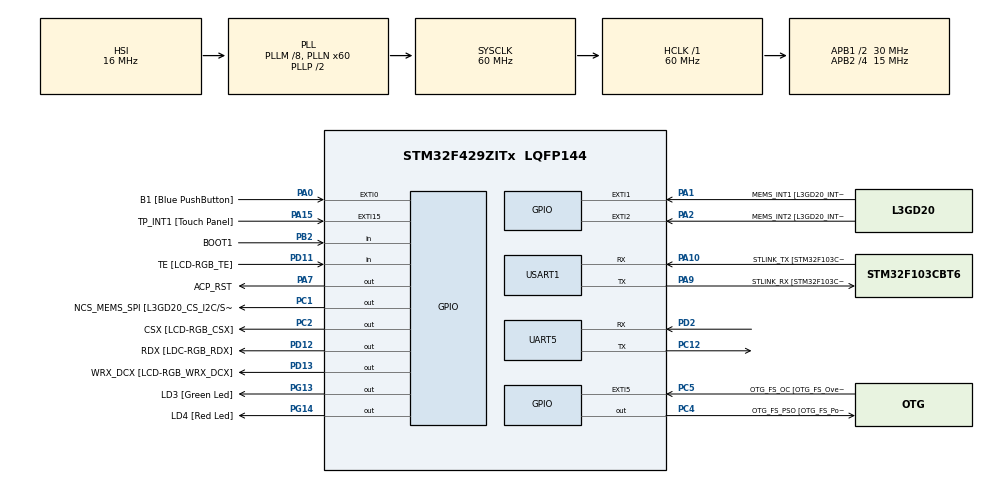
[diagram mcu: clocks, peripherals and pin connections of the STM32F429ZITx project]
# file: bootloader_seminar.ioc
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Mcu.Family=STM32F4
Mcu.Name=STM32F429ZITx
Mcu.Package=LQFP144
NVIC.PriorityGroup=NVIC_PRIORITYGROUP_0
PA0/WKUP.GPIO_Label=B1 [Blue PushButton]
PA0/WKUP.GPIO_ModeDefaultEXTI=GPIO_MODE_EVT_RISING
PA0/WKUP.GPIO_PuPd=GPIO_NOPULL
PA0/WKUP.Signal=GPXTI0
PA1.GPIO_Label=MEMS_INT1 [L3GD20_INT1]
PA1.GPIO_ModeDefaultEXTI=GPIO_MODE_EVT_RISING
PA1.GPIO_PuPd=GPIO_NOPULL
PA1.Signal=GPXTI1
PA10.GPIO_Label=STLINK_TX [STM32F103CBT6_PA2]
PA10.Mode=Asynchronous
PA10.Signal=USART1_RX
PA11.GPIO_Label=R4
PA11.GPIO_Mode=GPIO_MODE_AF_PP
PA11.GPIO_PuPd=GPIO_NOPULL
PA11.GPIO_Speed=GPIO_SPEED_FREQ_LOW
PA11.Signal=LTDC_R4
PA12.GPIO_Label=R5
PA12.GPIO_Mode=GPIO_MODE_AF_PP
PA12.GPIO_PuPd=GPIO_NOPULL
PA12.GPIO_Speed=GPIO_SPEED_FREQ_LOW
PA12.Signal=LTDC_R5
PA13.GPIO_Label=SWDIO
PA13.Signal=SYS_JTMS-SWDIO
PA14.GPIO_Label=SWCLK
PA14.Signal=SYS_JTCK-SWCLK
PA15.GPIO_Label=TP_INT1 [Touch Panel]
PA15.GPIO_ModeDefaultEXTI=GPIO_MODE_EVT_RISING
PA15.GPIO_PuPd=GPIO_NOPULL
PA15.Signal=GPXTI15
PA2.GPIO_Label=MEMS_INT2 [L3GD20_INT2]
PA2.GPIO_ModeDefaultEXTI=GPIO_MODE_EVT_RISING
PA2.GPIO_PuPd=GPIO_NOPULL
PA2.Signal=GPXTI2
PA3.GPIO_Label=B5
PA3.GPIO_Mode=GPIO_MODE_AF_PP
PA3.GPIO_PuPd=GPIO_NOPULL
PA3.GPIO_Speed=GPIO_SPEED_FREQ_LOW
PA3.Signal=LTDC_B5
PA4.GPIO_Label=VSYNC
PA4.GPIO_Mode=GPIO_MODE_AF_PP
PA4.GPIO_PuPd=GPIO_NOPULL
PA4.GPIO_Speed=GPIO_SPEED_FREQ_LOW
PA4.Signal=LTDC_VSYNC
PA6.GPIO_Label=G2
PA6.GPIO_Mode=GPIO_MODE_AF_PP
PA6.GPIO_PuPd=GPIO_NOPULL
PA6.GPIO_Speed=GPIO_SPEED_FREQ_LOW
PA6.Signal=LTDC_G2
PA7.GPIO_Label=ACP_RST
PA7.GPIO_Mode=GPIO_MODE_OUTPUT_PP
PA7.GPIO_PuPd=GPIO_NOPULL
PA7.GPIO_Speed=GPIO_SPEED_FREQ_LOW
PA7.Signal=GPIO_Output
PA8.GPIO_Label=I2C3_SCL [ACP/RF_SCL]
PA8.GPIO_Mode=GPIO_MODE_AF_OD
PA8.GPIO_PuPd=GPIO_NOPULL
PA8.GPIO_Speed=GPIO_SPEED_FREQ_LOW
PA8.Signal=I2C3_SCL
PA9.GPIO_Label=STLINK_RX [STM32F103CBT6_PA3]
PA9.Mode=Asynchronous
PA9.Signal=USART1_TX
PB0.GPIO_Label=R3
PB0.GPIO_Mode=GPIO_MODE_AF_PP
PB0.GPIO_PuPd=GPIO_NOPULL
PB0.GPIO_Speed=GPIO_SPEED_FREQ_LOW
PB0.Signal=LTDC_R3
PB1.GPIO_Label=R6
PB1.GPIO_Mode=GPIO_MODE_AF_PP
PB1.GPIO_PuPd=GPIO_NOPULL
PB1.GPIO_Speed=GPIO_SPEED_FREQ_LOW
PB1.Signal=LTDC_R6
PB10.GPIO_Label=G4
PB10.GPIO_Mode=GPIO_MODE_AF_PP
PB10.GPIO_PuPd=GPIO_NOPULL
PB10.GPIO_Speed=GPIO_SPEED_FREQ_LOW
PB10.Signal=LTDC_G4
PB11.GPIO_Label=G5
PB11.GPIO_Mode=GPIO_MODE_AF_PP
PB11.GPIO_PuPd=GPIO_NOPULL
PB11.GPIO_Speed=GPIO_SPEED_FREQ_LOW
PB11.Signal=LTDC_G5
PB12.GPIO_Label=OTG_HS_ID
PB12.GPIO_Mode=GPIO_MODE_AF_PP
PB12.GPIO_PuPd=GPIO_NOPULL
PB12.GPIO_Speed=GPIO_SPEED_FREQ_LOW
PB12.Signal=USB_OTG_HS_ID
PB13.GPIO_Label=VBUS_HS
PB13.GPIO_Mode=GPIO_MODE_INPUT
PB13.GPIO_PuPd=GPIO_NOPULL
PB13.Signal=USB_OTG_HS_VBUS
PB14.GPIO_Label=OTG_HS_DM
PB14.GPIO_Mode=GPIO_MODE_AF_PP
PB14.GPIO_PuPd=GPIO_NOPULL
PB14.GPIO_Speed=GPIO_SPEED_FREQ_LOW
PB14.Signal=USB_OTG_HS_DM
PB15.GPIO_Label=OTG_HS_DP
PB15.GPIO_Mode=GPIO_MODE_AF_PP
PB15.GPIO_PuPd=GPIO_NOPULL
PB15.GPIO_Speed=GPIO_SPEED_FREQ_LOW
PB15.Signal=USB_OTG_HS_DP
PB2/BOOT1.GPIO_Label=BOOT1
PB2/BOOT1.GPIO_Mode=GPIO_MODE_INPUT
PB2/BOOT1.GPIO_PuPd=GPIO_NOPULL
PB2/BOOT1.Signal=GPIO_Input
PB5.GPIO_Label=SDCKE1
PB5.GPIO_Mode=GPIO_MODE_AF_PP
PB5.GPIO_PuPd=GPIO_NOPULL
PB5.GPIO_Speed=GPIO_SPEED_FREQ_VERY_HIGH
PB5.Signal=FMC_SDCKE1
PB6.GPIO_Label=SDNE1 [SDRAM_CS]
PB6.GPIO_Mode=GPIO_MODE_AF_PP
PB6.GPIO_PuPd=GPIO_NOPULL
PB6.GPIO_Speed=GPIO_SPEED_FREQ_VERY_HIGH
PB6.Signal=FMC_SDNE1
PB8.GPIO_Label=B6
PB8.GPIO_Mode=GPIO_MODE_AF_PP
PB8.GPIO_PuPd=GPIO_NOPULL
PB8.GPIO_Speed=GPIO_SPEED_FREQ_LOW
PB8.Signal=LTDC_B6
PB9.GPIO_Label=B7
PB9.GPIO_Mode=GPIO_MODE_AF_PP
PB9.GPIO_PuPd=GPIO_NOPULL
PB9.GPIO_Speed=GPIO_SPEED_FREQ_LOW
PB9.Signal=LTDC_B7
PC0.GPIO_Label=SDNWE
PC0.GPIO_Mode=GPIO_MODE_AF_PP
PC0.GPIO_PuPd=GPIO_NOPULL
PC0.GPIO_Speed=GPIO_SPEED_FREQ_VERY_HIGH
PC0.Signal=FMC_SDNWE
PC1.GPIO_Label=NCS_MEMS_SPI [L3GD20_CS_I2C/SPI]
PC1.GPIO_Mode=GPIO_MODE_OUTPUT_PP
PC1.GPIO_PuPd=GPIO_NOPULL
PC1.GPIO_Speed=GPIO_SPEED_FREQ_LOW
PC1.Signal=GPIO_Output
PC10.GPIO_Label=R2
PC10.GPIO_Mode=GPIO_MODE_AF_PP
PC10.GPIO_PuPd=GPIO_NOPULL
PC10.GPIO_Speed=GPIO_SPEED_FREQ_LOW
PC10.Signal=LTDC_R2
PC12.Mode=Asynchronous
PC12.Signal=UART5_TX
PC14/OSC32_IN.GPIO_Label=PC14-OSC32_IN
PC14/OSC32_IN.Signal=RCC_OSC32_IN
PC15/OSC32_OUT.GPIO_Label=PC15-OSC32_OUT
PC15/OSC32_OUT.Signal=RCC_OSC32_OUT
PC2.GPIO_Label=CSX [LCD-RGB_CSX]
PC2.GPIO_Mode=GPIO_MODE_OUTPUT_PP
PC2.GPIO_PuPd=GPIO_NOPULL
PC2.GPIO_Speed=GPIO_SPEED_FREQ_LOW
PC2.Signal=GPIO_Output
PC4.GPIO_Label=OTG_FS_PSO [OTG_FS_PowerSwitchOn]
PC4.GPIO_Mode=GPIO_MODE_OUTPUT_PP
PC4.GPIO_PuPd=GPIO_NOPULL
PC4.GPIO_Speed=GPIO_SPEED_FREQ_LOW
PC4.Signal=GPIO_Output
PC5.GPIO_Label=OTG_FS_OC [OTG_FS_OverCurrent]
PC5.GPIO_ModeDefaultEXTI=GPIO_MODE_EVT_RISING
PC5.Signal=GPXTI5
PC6.GPIO_Label=HSYNC
PC6.GPIO_Mode=GPIO_MODE_AF_PP
PC6.GPIO_PuPd=GPIO_NOPULL
PC6.GPIO_Speed=GPIO_SPEED_FREQ_LOW
PC6.Signal=LTDC_HSYNC
PC7.GPIO_Label=G6
PC7.GPIO_Mode=GPIO_MODE_AF_PP
PC7.GPIO_PuPd=GPIO_NOPULL
PC7.GPIO_Speed=GPIO_SPEED_FREQ_LOW
PC7.Signal=LTDC_G6
PC9.GPIO_Label=I2C3_SDA [ACP/RF_SDA]
PC9.GPIO_Mode=GPIO_MODE_AF_OD
PC9.GPIO_PuPd=GPIO_NOPULL
PC9.GPIO_Speed=GPIO_SPEED_FREQ_LOW
PC9.Signal=I2C3_SDA
PD0.GPIO_Label=D2
PD0.GPIO_Mode=GPIO_MODE_AF_PP
PD0.GPIO_PuPd=GPIO_NOPULL
PD0.GPIO_Speed=GPIO_SPEED_FREQ_VERY_HIGH
PD0.Signal=FMC_D2_DA2
PD1.GPIO_Label=D3
PD1.GPIO_Mode=GPIO_MODE_AF_PP
PD1.GPIO_PuPd=GPIO_NOPULL
PD1.GPIO_Speed=GPIO_SPEED_FREQ_VERY_HIGH
PD1.Signal=FMC_D3_DA3
PD10.GPIO_Label=D15
PD10.GPIO_Mode=GPIO_MODE_AF_PP
PD10.GPIO_PuPd=GPIO_NOPULL
PD10.GPIO_Speed=GPIO_SPEED_FREQ_VERY_HIGH
PD10.Signal=FMC_D15_DA15
PD11.GPIO_Label=TE [LCD-RGB_TE]
PD11.GPIO_Mode=GPIO_MODE_INPUT
PD11.GPIO_PuPd=GPIO_NOPULL
PD11.Signal=GPIO_Input
PD12.GPIO_Label=RDX [LDC-RGB_RDX]
PD12.GPIO_Mode=GPIO_MODE_OUTPUT_PP
PD12.GPIO_PuPd=GPIO_NOPULL
PD12.GPIO_Speed=GPIO_SPEED_FREQ_LOW
PD12.Signal=GPIO_Output
PD13.GPIO_Label=WRX_DCX [LCD-RGB_WRX_DCX]
PD13.GPIO_Mode=GPIO_MODE_OUTPUT_PP
PD13.GPIO_PuPd=GPIO_NOPULL
PD13.GPIO_Speed=GPIO_SPEED_FREQ_LOW
PD13.Signal=GPIO_Output
PD14.GPIO_Label=D0
PD14.GPIO_Mode=GPIO_MODE_AF_PP
PD14.GPIO_PuPd=GPIO_NOPULL
PD14.GPIO_Speed=GPIO_SPEED_FREQ_VERY_HIGH
PD14.Signal=FMC_D0_DA0
PD15.GPIO_Label=D1
PD15.GPIO_Mode=GPIO_MODE_AF_PP
PD15.GPIO_PuPd=GPIO_NOPULL
PD15.GPIO_Speed=GPIO_SPEED_FREQ_VERY_HIGH
PD15.Signal=FMC_D1_DA1
PD2.Mode=Asynchronous
PD2.Signal=UART5_RX
PD3.GPIO_Label=G7
PD3.GPIO_Mode=GPIO_MODE_AF_PP
PD3.GPIO_PuPd=GPIO_NOPULL
PD3.GPIO_Speed=GPIO_SPEED_FREQ_LOW
PD3.Signal=LTDC_G7
PD6.GPIO_Label=B2
PD6.GPIO_Mode=GPIO_MODE_AF_PP
PD6.GPIO_PuPd=GPIO_NOPULL
PD6.GPIO_Speed=GPIO_SPEED_FREQ_LOW
PD6.Signal=LTDC_B2
PD8.GPIO_Label=D13
PD8.GPIO_Mode=GPIO_MODE_AF_PP
PD8.GPIO_PuPd=GPIO_NOPULL
PD8.GPIO_Speed=GPIO_SPEED_FREQ_VERY_HIGH
PD8.Signal=FMC_D13_DA13
PD9.GPIO_Label=D14
PD9.GPIO_Mode=GPIO_MODE_AF_PP
PD9.GPIO_PuPd=GPIO_NOPULL
PD9.GPIO_Speed=GPIO_SPEED_FREQ_VERY_HIGH
PD9.Signal=FMC_D14_DA14
PE0.GPIO_Label=NBL0 [SDRAM_LDQM]
PE0.GPIO_Mode=GPIO_MODE_AF_PP
PE0.GPIO_PuPd=GPIO_NOPULL
PE0.GPIO_Speed=GPIO_SPEED_FREQ_VERY_HIGH
PE0.Signal=FMC_NBL0
PE1.GPIO_Label=NBL1 [SDRAM_UDQM]
PE1.GPIO_Mode=GPIO_MODE_AF_PP
PE1.GPIO_PuPd=GPIO_NOPULL
PE1.GPIO_Speed=GPIO_SPEED_FREQ_VERY_HIGH
PE1.Signal=FMC_NBL1
PE10.GPIO_Label=D7
PE10.GPIO_Mode=GPIO_MODE_AF_PP
PE10.GPIO_PuPd=GPIO_NOPULL
PE10.GPIO_Speed=GPIO_SPEED_FREQ_VERY_HIGH
PE10.Signal=FMC_D7_DA7
PE11.GPIO_Label=D8
PE11.GPIO_Mode=GPIO_MODE_AF_PP
PE11.GPIO_PuPd=GPIO_NOPULL
PE11.GPIO_Speed=GPIO_SPEED_FREQ_VERY_HIGH
PE11.Signal=FMC_D8_DA8
PE12.GPIO_Label=D9
PE12.GPIO_Mode=GPIO_MODE_AF_PP
PE12.GPIO_PuPd=GPIO_NOPULL
PE12.GPIO_Speed=GPIO_SPEED_FREQ_VERY_HIGH
PE12.Signal=FMC_D9_DA9
PE13.GPIO_Label=D10
PE13.GPIO_Mode=GPIO_MODE_AF_PP
PE13.GPIO_PuPd=GPIO_NOPULL
PE13.GPIO_Speed=GPIO_SPEED_FREQ_VERY_HIGH
PE13.Signal=FMC_D10_DA10
PE14.GPIO_Label=D11
PE14.GPIO_Mode=GPIO_MODE_AF_PP
PE14.GPIO_PuPd=GPIO_NOPULL
PE14.GPIO_Speed=GPIO_SPEED_FREQ_VERY_HIGH
PE14.Signal=FMC_D11_DA11
PE15.GPIO_Label=D12
PE15.GPIO_Mode=GPIO_MODE_AF_PP
PE15.GPIO_PuPd=GPIO_NOPULL
PE15.GPIO_Speed=GPIO_SPEED_FREQ_VERY_HIGH
PE15.Signal=FMC_D12_DA12
PE7.GPIO_Label=D4
PE7.GPIO_Mode=GPIO_MODE_AF_PP
PE7.GPIO_PuPd=GPIO_NOPULL
PE7.GPIO_Speed=GPIO_SPEED_FREQ_VERY_HIGH
PE7.Signal=FMC_D4_DA4
PE8.GPIO_Label=D5
PE8.GPIO_Mode=GPIO_MODE_AF_PP
PE8.GPIO_PuPd=GPIO_NOPULL
PE8.GPIO_Speed=GPIO_SPEED_FREQ_VERY_HIGH
PE8.Signal=FMC_D5_DA5
PE9.GPIO_Label=D6
PE9.GPIO_Mode=GPIO_MODE_AF_PP
PE9.GPIO_PuPd=GPIO_NOPULL
PE9.GPIO_Speed=GPIO_SPEED_FREQ_VERY_HIGH
PE9.Signal=FMC_D6_DA6
PF0.GPIO_Label=A0
PF0.GPIO_Mode=GPIO_MODE_AF_PP
PF0.GPIO_PuPd=GPIO_NOPULL
PF0.GPIO_Speed=GPIO_SPEED_FREQ_VERY_HIGH
PF0.Signal=FMC_A0
PF1.GPIO_Label=A1
PF1.GPIO_Mode=GPIO_MODE_AF_PP
PF1.GPIO_PuPd=GPIO_NOPULL
PF1.GPIO_Speed=GPIO_SPEED_FREQ_VERY_HIGH
PF1.Signal=FMC_A1
PF10.GPIO_Label=ENABLE [LCD-RGB_ENABLE]
PF10.GPIO_Mode=GPIO_MODE_AF_PP
PF10.GPIO_PuPd=GPIO_NOPULL
PF10.GPIO_Speed=GPIO_SPEED_FREQ_LOW
PF10.Signal=LTDC_DE
PF11.GPIO_Label=SDNRAS
PF11.GPIO_Mode=GPIO_MODE_AF_PP
PF11.GPIO_PuPd=GPIO_NOPULL
PF11.GPIO_Speed=GPIO_SPEED_FREQ_VERY_HIGH
PF11.Signal=FMC_SDNRAS
PF12.GPIO_Label=A6
PF12.GPIO_Mode=GPIO_MODE_AF_PP
PF12.GPIO_PuPd=GPIO_NOPULL
PF12.GPIO_Speed=GPIO_SPEED_FREQ_VERY_HIGH
PF12.Signal=FMC_A6
PF13.GPIO_Label=A7
PF13.GPIO_Mode=GPIO_MODE_AF_PP
PF13.GPIO_PuPd=GPIO_NOPULL
PF13.GPIO_Speed=GPIO_SPEED_FREQ_VERY_HIGH
PF13.Signal=FMC_A7
PF14.GPIO_Label=A8
PF14.GPIO_Mode=GPIO_MODE_AF_PP
PF14.GPIO_PuPd=GPIO_NOPULL
PF14.GPIO_Speed=GPIO_SPEED_FREQ_VERY_HIGH
PF14.Signal=FMC_A8
PF15.GPIO_Label=A9
PF15.GPIO_Mode=GPIO_MODE_AF_PP
PF15.GPIO_PuPd=GPIO_NOPULL
PF15.GPIO_Speed=GPIO_SPEED_FREQ_VERY_HIGH
PF15.Signal=FMC_A9
PF2.GPIO_Label=A2
PF2.GPIO_Mode=GPIO_MODE_AF_PP
PF2.GPIO_PuPd=GPIO_NOPULL
PF2.GPIO_Speed=GPIO_SPEED_FREQ_VERY_HIGH
PF2.Signal=FMC_A2
PF3.GPIO_Label=A3
PF3.GPIO_Mode=GPIO_MODE_AF_PP
PF3.GPIO_PuPd=GPIO_NOPULL
PF3.GPIO_Speed=GPIO_SPEED_FREQ_VERY_HIGH
PF3.Signal=FMC_A3
PF4.GPIO_Label=A4
PF4.GPIO_Mode=GPIO_MODE_AF_PP
PF4.GPIO_PuPd=GPIO_NOPULL
PF4.GPIO_Speed=GPIO_SPEED_FREQ_VERY_HIGH
PF4.Signal=FMC_A4
PF5.GPIO_Label=A5
PF5.GPIO_Mode=GPIO_MODE_AF_PP
PF5.GPIO_PuPd=GPIO_NOPULL
PF5.GPIO_Speed=GPIO_SPEED_FREQ_VERY_HIGH
PF5.Signal=FMC_A5
PF7.GPIO_Label=SPI5_SCK [L3GD20_SCL/SPC]
PF7.GPIO_Mode=GPIO_MODE_AF_PP
PF7.GPIO_PuPd=GPIO_NOPULL
PF7.GPIO_Speed=GPIO_SPEED_FREQ_LOW
PF7.Signal=SPI5_SCK
PF8.GPIO_Label=SPI5_MISO [L3GD20_SDO]
PF8.GPIO_Mode=GPIO_MODE_AF_PP
PF8.GPIO_PuPd=GPIO_NOPULL
PF8.GPIO_Speed=GPIO_SPEED_FREQ_LOW
PF8.Signal=SPI5_MISO
PF9.GPIO_Label=SPI5_MOSI [L3GD20_SDA/SDI/SDO]
PF9.GPIO_Mode=GPIO_MODE_AF_PP
PF9.GPIO_PuPd=GPIO_NOPULL
PF9.GPIO_Speed=GPIO_SPEED_FREQ_LOW
PF9.Signal=SPI5_MOSI
PG0.GPIO_Label=A10
PG0.GPIO_Mode=GPIO_MODE_AF_PP
PG0.GPIO_PuPd=GPIO_NOPULL
PG0.GPIO_Speed=GPIO_SPEED_FREQ_VERY_HIGH
PG0.Signal=FMC_A10
PG1.GPIO_Label=A11
PG1.GPIO_Mode=GPIO_MODE_AF_PP
PG1.GPIO_PuPd=GPIO_NOPULL
PG1.GPIO_Speed=GPIO_SPEED_FREQ_VERY_HIGH
PG1.Signal=FMC_A11
PG10.GPIO_Label=G3
PG10.GPIO_Mode=GPIO_MODE_AF_PP
PG10.GPIO_PuPd=GPIO_NOPULL
PG10.GPIO_Speed=GPIO_SPEED_FREQ_LOW
PG10.Signal=LTDC_G3
PG11.GPIO_Label=B3
PG11.GPIO_Mode=GPIO_MODE_AF_PP
PG11.GPIO_PuPd=GPIO_NOPULL
PG11.GPIO_Speed=GPIO_SPEED_FREQ_LOW
PG11.Signal=LTDC_B3
PG12.GPIO_Label=B4
PG12.GPIO_Mode=GPIO_MODE_AF_PP
PG12.GPIO_PuPd=GPIO_NOPULL
PG12.GPIO_Speed=GPIO_SPEED_FREQ_LOW
PG12.Signal=LTDC_B4
PG13.GPIO_Label=LD3 [Green Led]
PG13.GPIO_Mode=GPIO_MODE_OUTPUT_PP
PG13.GPIO_PuPd=GPIO_NOPULL
PG13.GPIO_Speed=GPIO_SPEED_FREQ_LOW
PG13.Signal=GPIO_Output
PG14.GPIO_Label=LD4 [Red Led]
PG14.GPIO_Mode=GPIO_MODE_OUTPUT_PP
PG14.GPIO_PuPd=GPIO_NOPULL
PG14.GPIO_Speed=GPIO_SPEED_FREQ_LOW
PG14.Signal=GPIO_Output
PG15.GPIO_Label=SDNCAS
PG15.GPIO_Mode=GPIO_MODE_AF_PP
PG15.GPIO_PuPd=GPIO_NOPULL
PG15.GPIO_Speed=GPIO_SPEED_FREQ_VERY_HIGH
PG15.Signal=FMC_SDNCAS
PG4.GPIO_Label=BA0
PG4.GPIO_Mode=GPIO_MODE_AF_PP
PG4.GPIO_PuPd=GPIO_NOPULL
PG4.GPIO_Speed=GPIO_SPEED_FREQ_VERY_HIGH
PG4.Signal=FMC_A14_BA0
PG5.GPIO_Label=BA1
PG5.GPIO_Mode=GPIO_MODE_AF_PP
PG5.GPIO_PuPd=GPIO_NOPULL
PG5.GPIO_Speed=GPIO_SPEED_FREQ_VERY_HIGH
PG5.Signal=FMC_A15_BA1
PG6.GPIO_Label=R7
PG6.GPIO_Mode=GPIO_MODE_AF_PP
PG6.GPIO_PuPd=GPIO_NOPULL
PG6.GPIO_Speed=GPIO_SPEED_FREQ_LOW
PG6.Signal=LTDC_R7
PG7.GPIO_Label=DOTCLK [LCT-RGB_DOTCLK]
PG7.GPIO_Mode=GPIO_MODE_AF_PP
PG7.GPIO_PuPd=GPIO_NOPULL
PG7.GPIO_Speed=GPIO_SPEED_FREQ_LOW
PG7.Signal=LTDC_CLK
PG8.GPIO_Label=SDCLK
PG8.GPIO_Mode=GPIO_MODE_AF_PP
PG8.GPIO_PuPd=GPIO_NOPULL
PG8.GPIO_Speed=GPIO_SPEED_FREQ_VERY_HIGH
PG8.Signal=FMC_SDCLK
PH0/OSC_IN.GPIO_Label=PH0-OSC_IN
PH0/OSC_IN.Signal=RCC_OSC_IN
PH1/OSC_OUT.GPIO_Label=PH1-OSC_OUT
PH1/OSC_OUT.Signal=RCC_OSC_OUT
ProjectManager.HeapSize=0x200
ProjectManager.StackSize=0x400
ProjectManager.TargetToolchain=MDK-ARM V5.27
RCC.48MHZClocksFreq_Value=17142857.14285714
RCC.AHBFreq_Value=60000000
RCC.APB1CLKDivider=RCC_HCLK_DIV2
RCC.APB1Freq_Value=30000000
RCC.APB1TimFreq_Value=60000000
RCC.APB2CLKDivider=RCC_HCLK_DIV4
RCC.APB2Freq_Value=15000000
RCC.APB2TimFreq_Value=30000000
RCC.CortexFreq_Value=60000000
RCC.HCLKFreq_Value=60000000
RCC.HSE_VALUE=8000000
RCC.HSI_VALUE=16000000
RCC.LSE_VALUE=32768
RCC.PLLM=8
RCC.PLLN=60
RCC.PLLQ=7
RCC.SYSCLKFreq_VALUE=60000000
RCC.SYSCLKSource=RCC_SYSCLKSOURCE_PLLCLK
RCC.VCOOutputFreq_Value=120000000
SH.FMC_A0.0=FMC_A0
SH.FMC_A1.0=FMC_A1
SH.FMC_A10.0=FMC_A10
SH.FMC_A11.0=FMC_A11
SH.FMC_A14_BA0.0=FMC_BA0
SH.FMC_A15_BA1.0=FMC_BA1
SH.FMC_A2.0=FMC_A2
SH.FMC_A3.0=FMC_A3
SH.FMC_A4.0=FMC_A4
SH.FMC_A5.0=FMC_A5
SH.FMC_A6.0=FMC_A6
SH.FMC_A7.0=FMC_A7
SH.FMC_A8.0=FMC_A8
SH.FMC_A9.0=FMC_A9
SH.FMC_D0_DA0.0=FMC_D0
SH.FMC_D10_DA10.0=FMC_D10
SH.FMC_D11_DA11.0=FMC_D11
SH.FMC_D12_DA12.0=FMC_D12
SH.FMC_D13_DA13.0=FMC_D13
SH.FMC_D14_DA14.0=FMC_D14
SH.FMC_D15_DA15.0=FMC_D15
SH.FMC_D1_DA1.0=FMC_D1
SH.FMC_D2_DA2.0=FMC_D2
SH.FMC_D3_DA3.0=FMC_D3
SH.FMC_D4_DA4.0=FMC_D4
SH.FMC_D5_DA5.0=FMC_D5
SH.FMC_D6_DA6.0=FMC_D6
SH.FMC_D7_DA7.0=FMC_D7
SH.FMC_D8_DA8.0=FMC_D8
SH.FMC_D9_DA9.0=FMC_D9
SH.FMC_NBL0.0=FMC_NBL0
SH.FMC_NBL1.0=FMC_NBL1
SH.FMC_SDCLK.0=FMC_SDCLK
SH.FMC_SDNCAS.0=FMC_SDNCAS
SH.FMC_SDNRAS.0=FMC_SDNRAS
SH.FMC_SDNWE.0=FMC_SDNWE
UART5.VirtualMode=Asynchronous
USART1.VirtualMode=VM_ASYNC
VP_CRC_VS_CRC.Mode=CRC_Activate
board=STM32F429I-DISC1

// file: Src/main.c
/* USER CODE BEGIN Header */
/**
  ******************************************************************************
  * @file           : main.c
  * @brief          : Main program body
  ******************************************************************************
  * @attention
  *
  * <h2><center>&copy; Copyright (c) 2020 STMicroelectronics.
  * All rights reserved.</center></h2>
  *
  * This software component is licensed by ST under BSD 3-Clause license,
  * the "License"; You may not use this file except in compliance with the
  * License. You may obtain a copy of the License at:
  *                        opensource.org/licenses/BSD-3-Clause
  *
  ******************************************************************************
  */
/* USER CODE END Header */

#include "main.h"

/* USER CODE BEGIN Includes */
#include <string.h>
#include <stdio.h>
/* USER CODE END Includes */

CRC_HandleTypeDef hcrc;

UART_HandleTypeDef huart5;
UART_HandleTypeDef huart1;

void SystemClock_Config(void);
static void MX_GPIO_Init(void);
static void MX_CRC_Init(void);
static void MX_UART5_Init(void);
static void MX_USART1_UART_Init(void);
/* USER CODE BEGIN PFP */

static void jump_to_user_app(void);
/* USER CODE END PFP */

/* USER CODE BEGIN 0 */
#define C_UART huart1
#define D_UART huart5

char msg_c[] = "Hello C_UART\r\n";
char msg_d[] = "Hello D_UART\r\n";

/* USER CODE END 0 */

int main(void)
{

  /* MCU Configuration--------------------------------------------------------*/

  /* Reset of all peripherals, Initializes the Flash interface and the Systick. */
  HAL_Init();

  /* Configure the system clock */
  SystemClock_Config();

  /* Initialize all configured peripherals */
  MX_GPIO_Init();
  MX_CRC_Init();
  MX_UART5_Init();
  MX_USART1_UART_Init();
  /* USER CODE BEGIN 2 */

	#if 0
	char str[80];
	for(int i=0; i<5; i++) {
		sprintf(str, "======================= %d\r\n", i);
		HAL_UART_Transmit(&C_UART, (uint8_t*)str, strlen(str), HAL_MAX_DELAY);
	}

	uint8_t ret_btn_val = HAL_GPIO_ReadPin(GPIOA, GPIO_PIN_0);
	sprintf(str, "%d\r\n", ret_btn_val);
	HAL_UART_Transmit(&C_UART, (uint8_t*)str, strlen(str), HAL_MAX_DELAY);
	#endif
  /* USER CODE END 2 */

  /* Infinite loop */
  while (1)
  {

    /* USER CODE BEGIN 3 */
		if(HAL_GPIO_ReadPin(GPIOA, GPIO_PIN_0) == GPIO_PIN_RESET) {
				jump_to_user_app();
		}
		else {
			// bootloader mode
		}

		#if 0
			uint32_t current_tick = HAL_GetTick();
			while(HAL_GetTick() <= current_tick + 500);
			HAL_UART_Transmit(&C_UART, (uint8_t*)msg_c, strlen(msg_c), HAL_MAX_DELAY);
			HAL_UART_Transmit(&D_UART, (uint8_t*)msg_d, strlen(msg_d), HAL_MAX_DELAY);
		#endif
		/* USER CODE END 3 */
	}
}

void SystemClock_Config(void)
{
  RCC_OscInitTypeDef RCC_OscInitStruct = {0};
  RCC_ClkInitTypeDef RCC_ClkInitStruct = {0};

  /** Configure the main internal regulator output voltage
  */
  __HAL_RCC_PWR_CLK_ENABLE();
  __HAL_PWR_VOLTAGESCALING_CONFIG(PWR_REGULATOR_VOLTAGE_SCALE3);
  /** Initializes the CPU, AHB and APB busses clocks
  */
  RCC_OscInitStruct.OscillatorType = RCC_OSCILLATORTYPE_HSI;
  RCC_OscInitStruct.HSIState = RCC_HSI_ON;
  RCC_OscInitStruct.HSICalibrationValue = RCC_HSICALIBRATION_DEFAULT;
  RCC_OscInitStruct.PLL.PLLState = RCC_PLL_ON;
  RCC_OscInitStruct.PLL.PLLSource = RCC_PLLSOURCE_HSI;
  RCC_OscInitStruct.PLL.PLLM = 8;
  RCC_OscInitStruct.PLL.PLLN = 60;
  RCC_OscInitStruct.PLL.PLLP = RCC_PLLP_DIV2;
  RCC_OscInitStruct.PLL.PLLQ = 7;
  if (HAL_RCC_OscConfig(&RCC_OscInitStruct) != HAL_OK)
  {
    Error_Handler();
  }
  /** Initializes the CPU, AHB and APB busses clocks
  */
  RCC_ClkInitStruct.ClockType = RCC_CLOCKTYPE_HCLK|RCC_CLOCKTYPE_SYSCLK
                              |RCC_CLOCKTYPE_PCLK1|RCC_CLOCKTYPE_PCLK2;
  RCC_ClkInitStruct.SYSCLKSource = RCC_SYSCLKSOURCE_PLLCLK;
  RCC_ClkInitStruct.AHBCLKDivider = RCC_SYSCLK_DIV1;
  RCC_ClkInitStruct.APB1CLKDivider = RCC_HCLK_DIV2;
  RCC_ClkInitStruct.APB2CLKDivider = RCC_HCLK_DIV4;

  if (HAL_RCC_ClockConfig(&RCC_ClkInitStruct, FLASH_LATENCY_1) != HAL_OK)
  {
    Error_Handler();
  }
}

static void MX_CRC_Init(void)
{

  hcrc.Instance = CRC;
  if (HAL_CRC_Init(&hcrc) != HAL_OK)
  {
    Error_Handler();
  }

}

static void MX_UART5_Init(void)
{

  huart5.Instance = UART5;
  huart5.Init.BaudRate = 115200;
  huart5.Init.WordLength = UART_WORDLENGTH_8B;
  huart5.Init.StopBits = UART_STOPBITS_1;
  huart5.Init.Parity = UART_PARITY_NONE;
  huart5.Init.Mode = UART_MODE_TX_RX;
  huart5.Init.HwFlowCtl = UART_HWCONTROL_NONE;
  huart5.Init.OverSampling = UART_OVERSAMPLING_16;
  if (HAL_UART_Init(&huart5) != HAL_OK)
  {
    Error_Handler();
  }

}

static void MX_USART1_UART_Init(void)
{

  huart1.Instance = USART1;
  huart1.Init.BaudRate = 115200;
  huart1.Init.WordLength = UART_WORDLENGTH_8B;
  huart1.Init.StopBits = UART_STOPBITS_1;
  huart1.Init.Parity = UART_PARITY_NONE;
  huart1.Init.Mode = UART_MODE_TX_RX;
  huart1.Init.HwFlowCtl = UART_HWCONTROL_NONE;
  huart1.Init.OverSampling = UART_OVERSAMPLING_16;
  if (HAL_UART_Init(&huart1) != HAL_OK)
  {
    Error_Handler();
  }

}

static void MX_GPIO_Init(void)
{
  GPIO_InitTypeDef GPIO_InitStruct = {0};

  /* GPIO Ports Clock Enable */
  __HAL_RCC_GPIOC_CLK_ENABLE();
  __HAL_RCC_GPIOF_CLK_ENABLE();
  __HAL_RCC_GPIOH_CLK_ENABLE();
  __HAL_RCC_GPIOA_CLK_ENABLE();
  __HAL_RCC_GPIOB_CLK_ENABLE();
  __HAL_RCC_GPIOG_CLK_ENABLE();
  __HAL_RCC_GPIOE_CLK_ENABLE();
  __HAL_RCC_GPIOD_CLK_ENABLE();

  /*Configure GPIO pin Output Level */
  HAL_GPIO_WritePin(GPIOC, NCS_MEMS_SPI_Pin|CSX_Pin|OTG_FS_PSO_Pin, GPIO_PIN_RESET);

  /*Configure GPIO pin Output Level */
  HAL_GPIO_WritePin(ACP_RST_GPIO_Port, ACP_RST_Pin, GPIO_PIN_RESET);

  /*Configure GPIO pin Output Level */
  HAL_GPIO_WritePin(GPIOD, RDX_Pin|WRX_DCX_Pin, GPIO_PIN_RESET);

  /*Configure GPIO pin Output Level */
  HAL_GPIO_WritePin(GPIOG, LD3_Pin|LD4_Pin, GPIO_PIN_RESET);

  /*Configure GPIO pins : A0_Pin A1_Pin A2_Pin A3_Pin
                           A4_Pin A5_Pin SDNRAS_Pin A6_Pin
                           A7_Pin A8_Pin A9_Pin */
  GPIO_InitStruct.Pin = A0_Pin|A1_Pin|A2_Pin|A3_Pin
                          |A4_Pin|A5_Pin|SDNRAS_Pin|A6_Pin
                          |A7_Pin|A8_Pin|A9_Pin;
  GPIO_InitStruct.Mode = GPIO_MODE_AF_PP;
  GPIO_InitStruct.Pull = GPIO_NOPULL;
  GPIO_InitStruct.Speed = GPIO_SPEED_FREQ_VERY_HIGH;
  GPIO_InitStruct.Alternate = GPIO_AF12_FMC;
  HAL_GPIO_Init(GPIOF, &GPIO_InitStruct);

  /*Configure GPIO pins : SPI5_SCK_Pin SPI5_MISO_Pin SPI5_MOSI_Pin */
  GPIO_InitStruct.Pin = SPI5_SCK_Pin|SPI5_MISO_Pin|SPI5_MOSI_Pin;
  GPIO_InitStruct.Mode = GPIO_MODE_AF_PP;
  GPIO_InitStruct.Pull = GPIO_NOPULL;
  GPIO_InitStruct.Speed = GPIO_SPEED_FREQ_LOW;
  GPIO_InitStruct.Alternate = GPIO_AF5_SPI5;
  HAL_GPIO_Init(GPIOF, &GPIO_InitStruct);

  /*Configure GPIO pin : ENABLE_Pin */
  GPIO_InitStruct.Pin = ENABLE_Pin;
  GPIO_InitStruct.Mode = GPIO_MODE_AF_PP;
  GPIO_InitStruct.Pull = GPIO_NOPULL;
  GPIO_InitStruct.Speed = GPIO_SPEED_FREQ_LOW;
  GPIO_InitStruct.Alternate = GPIO_AF14_LTDC;
  HAL_GPIO_Init(ENABLE_GPIO_Port, &GPIO_InitStruct);

  /*Configure GPIO pin : SDNWE_Pin */
  GPIO_InitStruct.Pin = SDNWE_Pin;
  GPIO_InitStruct.Mode = GPIO_MODE_AF_PP;
  GPIO_InitStruct.Pull = GPIO_NOPULL;
  GPIO_InitStruct.Speed = GPIO_SPEED_FREQ_VERY_HIGH;
  GPIO_InitStruct.Alternate = GPIO_AF12_FMC;
  HAL_GPIO_Init(SDNWE_GPIO_Port, &GPIO_InitStruct);

  /*Configure GPIO pins : NCS_MEMS_SPI_Pin CSX_Pin OTG_FS_PSO_Pin */
  GPIO_InitStruct.Pin = NCS_MEMS_SPI_Pin|CSX_Pin|OTG_FS_PSO_Pin;
  GPIO_InitStruct.Mode = GPIO_MODE_OUTPUT_PP;
  GPIO_InitStruct.Pull = GPIO_NOPULL;
  GPIO_InitStruct.Speed = GPIO_SPEED_FREQ_LOW;
  HAL_GPIO_Init(GPIOC, &GPIO_InitStruct);

  /*Configure GPIO pins : B1_Pin MEMS_INT1_Pin MEMS_INT2_Pin TP_INT1_Pin */
  GPIO_InitStruct.Pin = B1_Pin|MEMS_INT1_Pin|MEMS_INT2_Pin|TP_INT1_Pin;
  GPIO_InitStruct.Mode = GPIO_MODE_EVT_RISING;
  GPIO_InitStruct.Pull = GPIO_NOPULL;
  HAL_GPIO_Init(GPIOA, &GPIO_InitStruct);

  /*Configure GPIO pins : B5_Pin VSYNC_Pin G2_Pin R4_Pin
                           R5_Pin */
  GPIO_InitStruct.Pin = B5_Pin|VSYNC_Pin|G2_Pin|R4_Pin
                          |R5_Pin;
  GPIO_InitStruct.Mode = GPIO_MODE_AF_PP;
  GPIO_InitStruct.Pull = GPIO_NOPULL;
  GPIO_InitStruct.Speed = GPIO_SPEED_FREQ_LOW;
  GPIO_InitStruct.Alternate = GPIO_AF14_LTDC;
  HAL_GPIO_Init(GPIOA, &GPIO_InitStruct);

  /*Configure GPIO pin : ACP_RST_Pin */
  GPIO_InitStruct.Pin = ACP_RST_Pin;
  GPIO_InitStruct.Mode = GPIO_MODE_OUTPUT_PP;
  GPIO_InitStruct.Pull = GPIO_NOPULL;
  GPIO_InitStruct.Speed = GPIO_SPEED_FREQ_LOW;
  HAL_GPIO_Init(ACP_RST_GPIO_Port, &GPIO_InitStruct);

  /*Configure GPIO pin : OTG_FS_OC_Pin */
  GPIO_InitStruct.Pin = OTG_FS_OC_Pin;
  GPIO_InitStruct.Mode = GPIO_MODE_EVT_RISING;
  GPIO_InitStruct.Pull = GPIO_NOPULL;
  HAL_GPIO_Init(OTG_FS_OC_GPIO_Port, &GPIO_InitStruct);

  /*Configure GPIO pins : R3_Pin R6_Pin */
  GPIO_InitStruct.Pin = R3_Pin|R6_Pin;
  GPIO_InitStruct.Mode = GPIO_MODE_AF_PP;
  GPIO_InitStruct.Pull = GPIO_NOPULL;
  GPIO_InitStruct.Speed = GPIO_SPEED_FREQ_LOW;
  GPIO_InitStruct.Alternate = GPIO_AF9_LTDC;
  HAL_GPIO_Init(GPIOB, &GPIO_InitStruct);

  /*Configure GPIO pin : BOOT1_Pin */
  GPIO_InitStruct.Pin = BOOT1_Pin;
  GPIO_InitStruct.Mode = GPIO_MODE_INPUT;
  GPIO_InitStruct.Pull = GPIO_NOPULL;
  HAL_GPIO_Init(BOOT1_GPIO_Port, &GPIO_InitStruct);

  /*Configure GPIO pins : A10_Pin A11_Pin BA0_Pin BA1_Pin
                           SDCLK_Pin SDNCAS_Pin */
  GPIO_InitStruct.Pin = A10_Pin|A11_Pin|BA0_Pin|BA1_Pin
                          |SDCLK_Pin|SDNCAS_Pin;
  GPIO_InitStruct.Mode = GPIO_MODE_AF_PP;
  GPIO_InitStruct.Pull = GPIO_NOPULL;
  GPIO_InitStruct.Speed = GPIO_SPEED_FREQ_VERY_HIGH;
  GPIO_InitStruct.Alternate = GPIO_AF12_FMC;
  HAL_GPIO_Init(GPIOG, &GPIO_InitStruct);

  /*Configure GPIO pins : D4_Pin D5_Pin D6_Pin D7_Pin
                           D8_Pin D9_Pin D10_Pin D11_Pin
                           D12_Pin NBL0_Pin NBL1_Pin */
  GPIO_InitStruct.Pin = D4_Pin|D5_Pin|D6_Pin|D7_Pin
                          |D8_Pin|D9_Pin|D10_Pin|D11_Pin
                          |D12_Pin|NBL0_Pin|NBL1_Pin;
  GPIO_InitStruct.Mode = GPIO_MODE_AF_PP;
  GPIO_InitStruct.Pull = GPIO_NOPULL;
  GPIO_InitStruct.Speed = GPIO_SPEED_FREQ_VERY_HIGH;
  GPIO_InitStruct.Alternate = GPIO_AF12_FMC;
  HAL_GPIO_Init(GPIOE, &GPIO_InitStruct);

  /*Configure GPIO pins : G4_Pin G5_Pin B6_Pin B7_Pin */
  GPIO_InitStruct.Pin = G4_Pin|G5_Pin|B6_Pin|B7_Pin;
  GPIO_InitStruct.Mode = GPIO_MODE_AF_PP;
  GPIO_InitStruct.Pull = GPIO_NOPULL;
  GPIO_InitStruct.Speed = GPIO_SPEED_FREQ_LOW;
  GPIO_InitStruct.Alternate = GPIO_AF14_LTDC;
  HAL_GPIO_Init(GPIOB, &GPIO_InitStruct);

  /*Configure GPIO pins : OTG_HS_ID_Pin OTG_HS_DM_Pin OTG_HS_DP_Pin */
  GPIO_InitStruct.Pin = OTG_HS_ID_Pin|OTG_HS_DM_Pin|OTG_HS_DP_Pin;
  GPIO_InitStruct.Mode = GPIO_MODE_AF_PP;
  GPIO_InitStruct.Pull = GPIO_NOPULL;
  GPIO_InitStruct.Speed = GPIO_SPEED_FREQ_LOW;
  GPIO_InitStruct.Alternate = GPIO_AF12_OTG_HS_FS;
  HAL_GPIO_Init(GPIOB, &GPIO_InitStruct);

  /*Configure GPIO pin : VBUS_HS_Pin */
  GPIO_InitStruct.Pin = VBUS_HS_Pin;
  GPIO_InitStruct.Mode = GPIO_MODE_INPUT;
  GPIO_InitStruct.Pull = GPIO_NOPULL;
  HAL_GPIO_Init(VBUS_HS_GPIO_Port, &GPIO_InitStruct);

  /*Configure GPIO pins : D13_Pin D14_Pin D15_Pin D0_Pin
                           D1_Pin D2_Pin D3_Pin */
  GPIO_InitStruct.Pin = D13_Pin|D14_Pin|D15_Pin|D0_Pin
                          |D1_Pin|D2_Pin|D3_Pin;
  GPIO_InitStruct.Mode = GPIO_MODE_AF_PP;
  GPIO_InitStruct.Pull = GPIO_NOPULL;
  GPIO_InitStruct.Speed = GPIO_SPEED_FREQ_VERY_HIGH;
  GPIO_InitStruct.Alternate = GPIO_AF12_FMC;
  HAL_GPIO_Init(GPIOD, &GPIO_InitStruct);

  /*Configure GPIO pin : TE_Pin */
  GPIO_InitStruct.Pin = TE_Pin;
  GPIO_InitStruct.Mode = GPIO_MODE_INPUT;
  GPIO_InitStruct.Pull = GPIO_NOPULL;
  HAL_GPIO_Init(TE_GPIO_Port, &GPIO_InitStruct);

  /*Configure GPIO pins : RDX_Pin WRX_DCX_Pin */
  GPIO_InitStruct.Pin = RDX_Pin|WRX_DCX_Pin;
  GPIO_InitStruct.Mode = GPIO_MODE_OUTPUT_PP;
  GPIO_InitStruct.Pull = GPIO_NOPULL;
  GPIO_InitStruct.Speed = GPIO_SPEED_FREQ_LOW;
  HAL_GPIO_Init(GPIOD, &GPIO_InitStruct);

  /*Configure GPIO pins : R7_Pin DOTCLK_Pin B3_Pin */
  GPIO_InitStruct.Pin = R7_Pin|DOTCLK_Pin|B3_Pin;
  GPIO_InitStruct.Mode = GPIO_MODE_AF_PP;
  GPIO_InitStruct.Pull = GPIO_NOPULL;
  GPIO_InitStruct.Speed = GPIO_SPEED_FREQ_LOW;
  GPIO_InitStruct.Alternate = GPIO_AF14_LTDC;
  HAL_GPIO_Init(GPIOG, &GPIO_InitStruct);

  /*Configure GPIO pins : HSYNC_Pin G6_Pin R2_Pin */
  GPIO_InitStruct.Pin = HSYNC_Pin|G6_Pin|R2_Pin;
  GPIO_InitStruct.Mode = GPIO_MODE_AF_PP;
  GPIO_InitStruct.Pull = GPIO_NOPULL;
  GPIO_InitStruct.Speed = GPIO_SPEED_FREQ_LOW;
  GPIO_InitStruct.Alternate = GPIO_AF14_LTDC;
  HAL_GPIO_Init(GPIOC, &GPIO_InitStruct);

  /*Configure GPIO pin : I2C3_SDA_Pin */
  GPIO_InitStruct.Pin = I2C3_SDA_Pin;
  GPIO_InitStruct.Mode = GPIO_MODE_AF_OD;
  GPIO_InitStruct.Pull = GPIO_PULLUP;
  GPIO_InitStruct.Speed = GPIO_SPEED_FREQ_LOW;
  GPIO_InitStruct.Alternate = GPIO_AF4_I2C3;
  HAL_GPIO_Init(I2C3_SDA_GPIO_Port, &GPIO_InitStruct);

  /*Configure GPIO pin : I2C3_SCL_Pin */
  GPIO_InitStruct.Pin = I2C3_SCL_Pin;
  GPIO_InitStruct.Mode = GPIO_MODE_AF_OD;
  GPIO_InitStruct.Pull = GPIO_PULLUP;
  GPIO_InitStruct.Speed = GPIO_SPEED_FREQ_LOW;
  GPIO_InitStruct.Alternate = GPIO_AF4_I2C3;
  HAL_GPIO_Init(I2C3_SCL_GPIO_Port, &GPIO_InitStruct);

  /*Configure GPIO pins : G7_Pin B2_Pin */
  GPIO_InitStruct.Pin = G7_Pin|B2_Pin;
  GPIO_InitStruct.Mode = GPIO_MODE_AF_PP;
  GPIO_InitStruct.Pull = GPIO_NOPULL;
  GPIO_InitStruct.Speed = GPIO_SPEED_FREQ_LOW;
  GPIO_InitStruct.Alternate = GPIO_AF14_LTDC;
  HAL_GPIO_Init(GPIOD, &GPIO_InitStruct);

  /*Configure GPIO pins : G3_Pin B4_Pin */
  GPIO_InitStruct.Pin = G3_Pin|B4_Pin;
  GPIO_InitStruct.Mode = GPIO_MODE_AF_PP;
  GPIO_InitStruct.Pull = GPIO_NOPULL;
  GPIO_InitStruct.Speed = GPIO_SPEED_FREQ_LOW;
  GPIO_InitStruct.Alternate = GPIO_AF9_LTDC;
  HAL_GPIO_Init(GPIOG, &GPIO_InitStruct);

  /*Configure GPIO pins : LD3_Pin LD4_Pin */
  GPIO_InitStruct.Pin = LD3_Pin|LD4_Pin;
  GPIO_InitStruct.Mode = GPIO_MODE_OUTPUT_PP;
  GPIO_InitStruct.Pull = GPIO_NOPULL;
  GPIO_InitStruct.Speed = GPIO_SPEED_FREQ_LOW;
  HAL_GPIO_Init(GPIOG, &GPIO_InitStruct);

  /*Configure GPIO pins : SDCKE1_Pin SDNE1_Pin */
  GPIO_InitStruct.Pin = SDCKE1_Pin|SDNE1_Pin;
  GPIO_InitStruct.Mode = GPIO_MODE_AF_PP;
  GPIO_InitStruct.Pull = GPIO_NOPULL;
  GPIO_InitStruct.Speed = GPIO_SPEED_FREQ_VERY_HIGH;
  GPIO_InitStruct.Alternate = GPIO_AF12_FMC;
  HAL_GPIO_Init(GPIOB, &GPIO_InitStruct);

}

/* USER CODE BEGIN 4 */
#define USER_APP_FLASH_BASE_ADDR	0x8008000

static void jump_to_user_app(void) {
	void (*app_reset_handler)(void);

	uint32_t msp_value = *(volatile uint32_t *)(USER_APP_FLASH_BASE_ADDR);

	__set_MSP(msp_value);

	uint32_t reset_handler_addr = *(volatile uint32_t*)(USER_APP_FLASH_BASE_ADDR + 4);
	app_reset_handler = (void *)reset_handler_addr;

	app_reset_handler();
}

/* USER CODE END 4 */

void Error_Handler(void)
{
}

/************************ (C) COPYRIGHT STMicroelectronics *****END OF FILE****/
